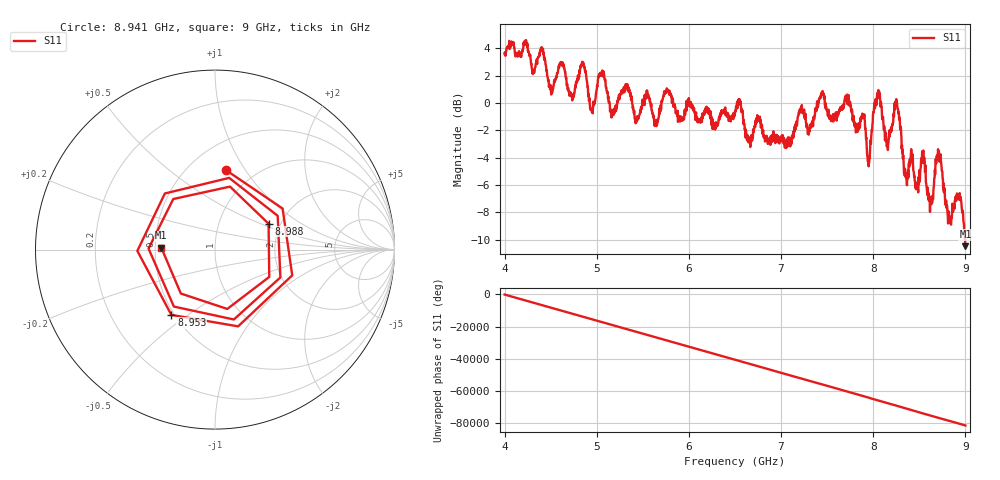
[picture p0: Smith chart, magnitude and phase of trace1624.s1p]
! Created with skrf 1.8.0 (http://scikit-rf.org).
# Hz S RI R 50.0
!freq ReS11 ImS11
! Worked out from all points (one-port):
!   1601 points, 4 GHz to 9 GHz, reference 50 ohm
!   lowest |S11| = -10.5 dB at 9 GHz (marker M1), VSWR 1.85, Z = 27 + j0.615 ohm
!   |S11| at or under -10 dB: 8.996309 GHz to end of sweep
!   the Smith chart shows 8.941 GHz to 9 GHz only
!   S11 on the Smith chart (normalised r, x): 8.941 GHz: 0.74, +0.82; 8.953 GHz: 0.48, -0.43; 8.988 GHz: 1.74, +0.56; 9 GHz: 0.54, +0.01
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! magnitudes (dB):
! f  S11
! 4 GHz  3.6
! 4.403 GHz  4.1
! 4.506 GHz  0.6
! 4.625 GHz  2.7
! 4.728 GHz  0.6
! 4.856 GHz  2.8
! 4.947 GHz  -0.7
! 5.05 GHz  2.0
! 5.162 GHz  -0.9
! 5.25 GHz  0.4
! 5.875 GHz  -1.0
! 6.5 GHz  -0.8
! 7.125 GHz  -2.4
! 7.438 GHz  0.7
! 7.75 GHz  0.1
! 7.95 GHz  -4.6
! 8.047 GHz  0.7
! 8.15 GHz  -3.1
! 8.253 GHz  0.0
! 8.375 GHz  -5.5
! 8.541 GHz  -3.6
! 8.625 GHz  -7.1
! 8.712 GHz  -3.5
! 8.828 GHz  -8.7
! 8.941 GHz  -7.0
! 8.953 GHz  -7.2
! 8.988 GHz  -9.6
! 9 GHz  -10.5
